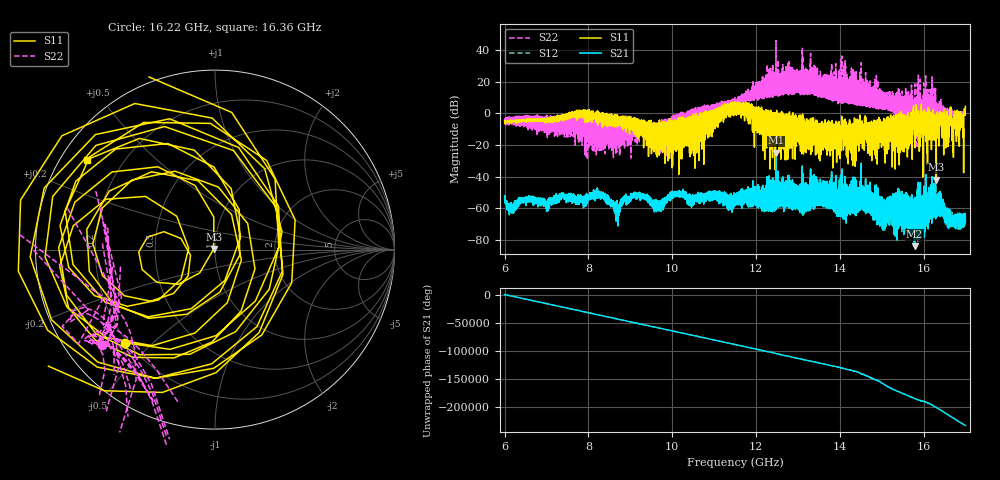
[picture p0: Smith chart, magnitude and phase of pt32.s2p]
#  HZ  S  RI  R  50.00
! Rohde & Schwarz Vector Network Analyzer
! Rohde-Schwarz,ZNA67-2Port,1332450062101215,3.01
! Created: UTC 10/15/2026, 3:45:12 PM
! freq[Hz]  re:S11  im:S11  re:S21  im:S21  re:S12  im:S12  re:S22  im:S22
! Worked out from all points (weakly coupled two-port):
!   11001 points, 6 GHz to 17 GHz, reference 50 ohm
!   highest |S21| = -24.76 dB at 12.48 GHz (marker M1); lowest = -83.8 dB at 15.79 GHz (marker M2)
!   lowest |S11| = -41.9 dB at 16.3 GHz (marker M3), VSWR 1.02, Z = 49.3 + j0.345 ohm
!   |S11| at or under -10 dB: 13.48042 GHz to 13.49689 GHz (16.48 MHz wide, 0.122 % of centre); 13.59809 GHz to 13.62591 GHz (27.82 MHz wide, 0.204 % of centre); 14.157 GHz to 14.17438 GHz (17.39 MHz wide, 0.123 % of centre) (the widest 3 of 498)
!   |S22| runs from -29.3 to 45.9 dB; largest |S21 - S12| = 0.0071
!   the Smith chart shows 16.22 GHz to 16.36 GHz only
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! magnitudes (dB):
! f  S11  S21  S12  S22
! 6 GHz  -4.9  -53.9  -53.8  -3.7
! 6.159 GHz  -5.5  -59.3  -59.6  -3.1
! 6.627 GHz  -4.4  -53.2  -53.1  -2.5
! 7.023 GHz  -3.7  -61.2  -61.0  -2.7
! 7.834 GHz  -0.3  -52.5  -52.4  -6.6
! 8.267 GHz  -1.8  -49.8  -49.4  -8.7
! 8.695 GHz  -1.9  -62.2  -61.5  -3.7
! 9.171 GHz  -5.3  -51.1  -50.9  -6.7
! 9.667 GHz  -12.2  -59.7  -59.6  -8.9
! 10.12 GHz  -7.4  -50.5  -50.6  -15.1
! 11.5 GHz  6.8  -55.4  -55.5  7.0
! 12.48 GHz  -9.4  -24.8  -24.8  45.9
! 13.33 GHz  -8.3  -55.3  -54.9  15.0
! 14.11 GHz  -14.6  -60.5  -61.8  10.0
! 14.55 GHz  -8.5  -60.9  -60.4  4.9
! 15.06 GHz  -6.5  -64.6  -65.4  5.7
! 15.17 GHz  -9.4  -58.9  -59.3  9.7
! 15.63 GHz  -3.4  -75.2  -74.5  -9.4
! 15.79 GHz  -2.3  -83.8  -82.8  -18.2
! 16.3 GHz  -41.9  -63.6  -64.9  -1.9
! 16.91 GHz  -3.9  -64.1  -65.0  -0.3
! 17 GHz  4.3  -68.0  -68.7  0.2
